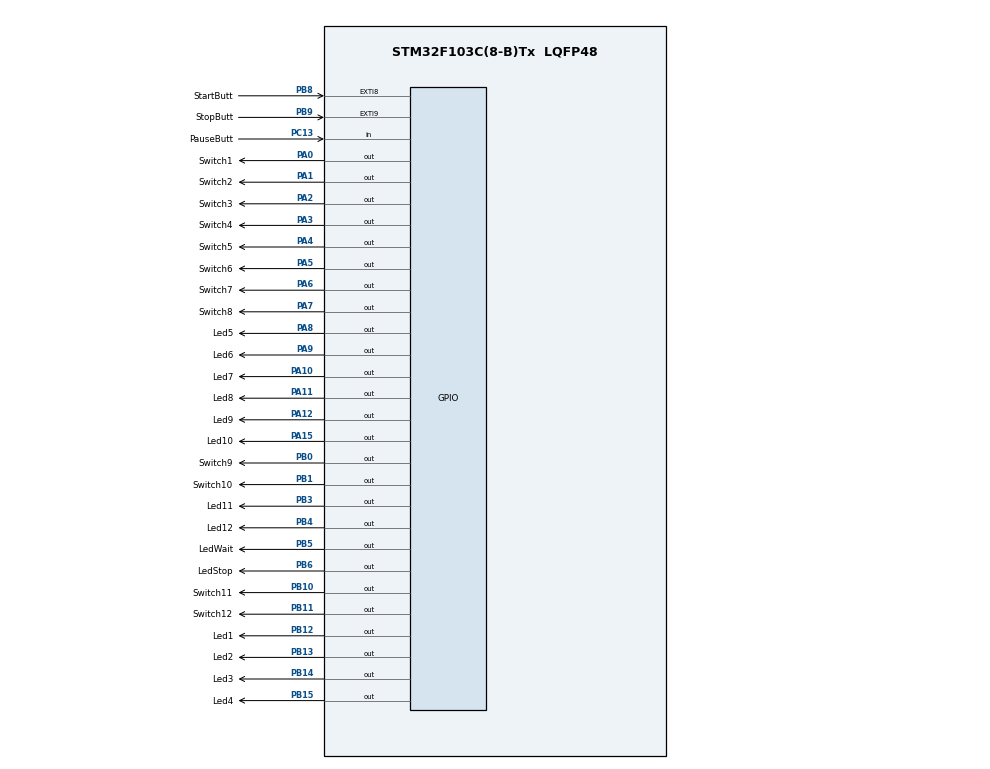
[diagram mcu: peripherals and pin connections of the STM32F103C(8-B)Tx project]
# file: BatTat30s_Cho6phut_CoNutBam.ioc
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Mcu.Family=STM32F1
Mcu.Name=STM32F103C(8-B)Tx
Mcu.Package=LQFP48
NVIC.EXTI9_5_IRQn=true\:0\:0\:false\:false\:true\:true\:true\:true
NVIC.PriorityGroup=NVIC_PRIORITYGROUP_4
NVIC.TIM2_IRQn=true\:0\:0\:true\:false\:true\:true\:true\:true
NVIC.TIM3_IRQn=true\:0\:0\:false\:false\:true\:true\:true\:true
PA0-WKUP.GPIO_Label=Switch1
PA0-WKUP.Signal=GPIO_Output
PA1.GPIO_Label=Switch2
PA1.Signal=GPIO_Output
PA10.GPIO_Label=Led7
PA10.Signal=GPIO_Output
PA11.GPIO_Label=Led8
PA11.Signal=GPIO_Output
PA12.GPIO_Label=Led9
PA12.Signal=GPIO_Output
PA13.Mode=Serial_Wire
PA13.Signal=SYS_JTMS-SWDIO
PA14.Mode=Serial_Wire
PA14.Signal=SYS_JTCK-SWCLK
PA15.GPIO_Label=Led10
PA15.Signal=GPIO_Output
PA2.GPIO_Label=Switch3
PA2.Signal=GPIO_Output
PA3.GPIO_Label=Switch4
PA3.Signal=GPIO_Output
PA4.GPIO_Label=Switch5
PA4.Signal=GPIO_Output
PA5.GPIO_Label=Switch6
PA5.Signal=GPIO_Output
PA6.GPIO_Label=Switch7
PA6.Signal=GPIO_Output
PA7.GPIO_Label=Switch8
PA7.Signal=GPIO_Output
PA8.GPIO_Label=Led5
PA8.Signal=GPIO_Output
PA9.GPIO_Label=Led6
PA9.Signal=GPIO_Output
PB0.GPIO_Label=Switch9
PB0.Signal=GPIO_Output
PB1.GPIO_Label=Switch10
PB1.Signal=GPIO_Output
PB10.GPIO_Label=Switch11
PB10.Signal=GPIO_Output
PB11.GPIO_Label=Switch12
PB11.Signal=GPIO_Output
PB12.GPIO_Label=Led1
PB12.Signal=GPIO_Output
PB13.GPIO_Label=Led2
PB13.Signal=GPIO_Output
PB14.GPIO_Label=Led3
PB14.Signal=GPIO_Output
PB15.GPIO_Label=Led4
PB15.Signal=GPIO_Output
PB3.GPIO_Label=Led11
PB3.Signal=GPIO_Output
PB4.GPIO_Label=Led12
PB4.Signal=GPIO_Output
PB5.GPIO_Label=LedWait
PB5.Signal=GPIO_Output
PB6.GPIO_Label=LedStop
PB6.Signal=GPIO_Output
PB8.GPIO_Label=StartButt
PB8.GPIO_ModeDefaultEXTI=GPIO_MODE_IT_FALLING
PB8.GPIO_PuPd=GPIO_PULLUP
PB8.Signal=GPXTI8
PB9.GPIO_Label=StopButt
PB9.GPIO_PuPd=GPIO_PULLUP
PB9.Signal=GPXTI9
PC13-TAMPER-RTC.GPIO_Label=PauseButt
PC13-TAMPER-RTC.GPIO_PuPd=GPIO_PULLUP
PC13-TAMPER-RTC.Signal=GPIO_Input
PD0-OSC_IN.Mode=HSE-External-Oscillator
PD0-OSC_IN.Signal=RCC_OSC_IN
PD1-OSC_OUT.Mode=HSE-External-Oscillator
PD1-OSC_OUT.Signal=RCC_OSC_OUT
ProjectManager.HeapSize=0x200
ProjectManager.StackSize=0x400
ProjectManager.TargetToolchain=STM32CubeIDE
RCC.APB1Freq_Value=8000000
RCC.APB2Freq_Value=8000000
TIM2.Period=7999
TIM2.Prescaler=999
TIM3.Period=62499
TIM3.Prescaler=63
VP_TIM2_VS_ClockSourceINT.Mode=Internal
VP_TIM3_VS_ClockSourceINT.Mode=Internal
board=custom

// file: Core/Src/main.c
/* USER CODE BEGIN Header */
/**
 ******************************************************************************
 * @file           : main.c
 * @brief          : Main program body
 ******************************************************************************
 * @attention
 *
 * Copyright (c) 2024 STMicroelectronics.
 * All rights reserved.
 *
 * This software is licensed under terms that can be found in the LICENSE file
 * in the root directory of this software component.
 * If no LICENSE file comes with this software, it is provided AS-IS.
 *
 ******************************************************************************
 */
/* USER CODE END Header */
#include "main.h"

TIM_HandleTypeDef htim2;
TIM_HandleTypeDef htim3;

/* USER CODE BEGIN PV */
uint16_t countSecond = 0, countSecond_limit = 30;
uint16_t countSecond_WaitLimit = 360;
//uint16_t countSecond = 0, countSecond_limit = 5;
//uint16_t countSecond_WaitLimit = 10;
uint8_t countMili = 0, countMili_limit = 2;
uint8_t flagSkip = 0, flagChange = 0, flagFirstStop = 0;
uint8_t flagTim3 = 0, flagTim2 = 1;
uint8_t relay1 = 0, relay2 = 0, relay3 = 0, relay4 = 0;
enum State {
	stop,
	switch1,
	switch2,
	switch3,
	switch4,
	switch5,
	switch6,
	switch7,
	switch8,
	switch9,
	switch10,
	switch11,
	switch12,
	wait
} state = stop;

/* USER CODE END PV */

void SystemClock_Config(void);
static void MX_GPIO_Init(void);
static void MX_TIM2_Init(void);
static void MX_TIM3_Init(void);

/* USER CODE BEGIN 0 */
void HAL_TIM_PeriodElapsedCallback(TIM_HandleTypeDef *htim) {
	if (htim == &htim2) {
		countSecond += 1;
//		if(countSecond %2 == 0)
//		HAL_GPIO_TogglePin(Switch6_GPIO_Port, Switch6_Pin);
	} else if (htim == &htim3) {
		countMili += 1;
//	HAL_GPIO_TogglePin(Switch4_GPIO_Port, Switch4_Pin);
	}
}
void RstAll() {
	countSecond = 0;
	countMili = 0;
	relay1 = 0;
	relay2 = 0;
	relay3 = 0;

	HAL_GPIO_WritePin(LedWait_GPIO_Port, LedWait_Pin, 0);
	HAL_GPIO_WritePin(Switch1_GPIO_Port, Switch1_Pin, 0);
	HAL_GPIO_WritePin(Switch2_GPIO_Port, Switch2_Pin, 0);
	HAL_GPIO_WritePin(Switch3_GPIO_Port, Switch3_Pin, 0);
	HAL_GPIO_WritePin(Switch4_GPIO_Port, Switch4_Pin, 0);
	HAL_GPIO_WritePin(Switch5_GPIO_Port, Switch5_Pin, 0);
	HAL_GPIO_WritePin(Switch6_GPIO_Port, Switch6_Pin, 0);
	HAL_GPIO_WritePin(Switch7_GPIO_Port, Switch7_Pin, 0);
	HAL_GPIO_WritePin(Switch8_GPIO_Port, Switch8_Pin, 0);
	HAL_GPIO_WritePin(Led1_GPIO_Port, Led1_Pin, 0);
	HAL_GPIO_WritePin(Led2_GPIO_Port, Led2_Pin, 0);
	HAL_GPIO_WritePin(Led3_GPIO_Port, Led3_Pin, 0);
	HAL_GPIO_WritePin(Led4_GPIO_Port, Led4_Pin, 0);
	HAL_GPIO_WritePin(Led5_GPIO_Port, Led5_Pin, 0);
	HAL_GPIO_WritePin(Led6_GPIO_Port, Led6_Pin, 0);
	HAL_GPIO_WritePin(Led7_GPIO_Port, Led7_Pin, 0);
	HAL_GPIO_WritePin(Led8_GPIO_Port, Led8_Pin, 0);
	HAL_GPIO_WritePin(Led9_GPIO_Port, Led9_Pin, 0);
	HAL_GPIO_WritePin(Led10_GPIO_Port, Led10_Pin, 0);
	HAL_GPIO_WritePin(Led11_GPIO_Port, Led11_Pin, 0);
	HAL_GPIO_WritePin(Led12_GPIO_Port, Led12_Pin, 0);

}
void HAL_GPIO_EXTI_Callback(uint16_t GPIO_Pin) {
	if (GPIO_Pin == StartButt_Pin) {
		flagChange = 1;
		state = switch1;
		__HAL_GPIO_EXTI_CLEAR_IT(StartButt_Pin);
		EXTI->PR = StartButt_Pin;
//		HAL_Delay(100);
	}

	else if (GPIO_Pin == StopButt_Pin) {
		flagChange = 1;
		state = stop;
//		HAL_Delay(10);
		__HAL_GPIO_EXTI_CLEAR_IT(StopButt_Pin);
		EXTI->PR = StopButt_Pin;
	}
//	HAL_Delay(10);
//	if (GPIO_Pin == SkipButt_Pin) {
//		flagSkip = 1;
//	}
}

/* USER CODE END 0 */

int main(void)
{

  /* MCU Configuration--------------------------------------------------------*/

  /* Reset of all peripherals, Initializes the Flash interface and the Systick. */
  HAL_Init();

  /* Configure the system clock */
  SystemClock_Config();

  /* Initialize all configured peripherals */
  MX_GPIO_Init();
  MX_TIM2_Init();
  MX_TIM3_Init();
  /* USER CODE BEGIN 2 */
	RstAll();
	HAL_GPIO_WritePin(LedWait_GPIO_Port, LedWait_Pin, 0);

//					__HAL_TIM_CLEAR_IT(&htim2, TIM_IT_UPDATE);
//					HAL_TIM_Base_Start_IT(&htim2);
//									__HAL_TIM_CLEAR_IT(&htim3, TIM_IT_UPDATE);
//									HAL_TIM_Base_Start_IT(&htim3);

//					HAL_GPIO_WritePin(Switch4_GPIO_Port, Switch4_Pin, 1);
  /* USER CODE END 2 */

  /* Infinite loop */
	while (1) {

    /* USER CODE BEGIN 3 */

//			HAL_GPIO_WritePin(Switch1_GPIO_Port, Switch1_Pin, 1);
//					if(countSecond  >= 5){
////						HAL_GPIO_WritePin(Switch4_GPIO_Port, Switch4_Pin, 0);
////					HAL_GPIO_TogglePin(Switch6_GPIO_Port, Switch6_Pin);
//					countSecond = 0;
//					}
		if (HAL_GPIO_ReadPin(PauseButt_GPIO_Port, PauseButt_Pin) == 0) {
			if (flagFirstStop == 0) {
				flagFirstStop = 1;
				HAL_TIM_Base_Stop_IT(&htim3);
				HAL_TIM_Base_Stop_IT(&htim2);
//				HAL_GPIO_TogglePin(LedWait_GPIO_Port, LedWait_Pin);
			}
		} else {
			if (flagFirstStop == 1) {
//				HAL_GPIO_TogglePin(LedWait_GPIO_Port, LedWait_Pin);
				flagFirstStop = 0;
				if (flagTim3)
					HAL_TIM_Base_Start_IT(&htim3);
				if (flagTim2)
					HAL_TIM_Base_Start_IT(&htim2);
			}
			switch (state) {
			case stop:
				if (flagChange) {
					HAL_TIM_Base_Stop_IT(&htim3);
					flagTim3 = 0;
					HAL_TIM_Base_Stop_IT(&htim2);
					flagTim2 = 0;
					RstAll();
					flagChange = 0;
				}
				break;
			case switch1:
				if (flagChange) {
					countMili = 0;
					RstAll();
					HAL_GPIO_WritePin(Led1_GPIO_Port, Led1_Pin, 1);
					HAL_GPIO_WritePin(Switch1_GPIO_Port, Switch1_Pin, 1);
					relay1 = 1;
					__HAL_TIM_CLEAR_IT(&htim3, TIM_IT_UPDATE);
					HAL_TIM_Base_Start_IT(&htim3);
					flagTim3 = 1;
					flagChange = 0;
				} else {
					if (countMili >= countMili_limit) {
						relay1 = 0;
						HAL_GPIO_WritePin(Switch1_GPIO_Port, Switch1_Pin, 0);
						HAL_TIM_Base_Stop_IT(&htim3);
						flagTim3 = 0;
						__HAL_TIM_CLEAR_IT(&htim2, TIM_IT_UPDATE);
						HAL_TIM_Base_Start_IT(&htim2);
						flagTim2 = 1;
						countMili = 0;
					}
					if (countSecond >= countSecond_limit) {
						state = switch2;
						flagChange = 1;
						countSecond = 0;
						HAL_TIM_Base_Stop_IT(&htim2);
						flagTim2 = 0;

					}
				}
				break;

			case switch2:
				if (flagChange) {
					countMili = 0;
					HAL_GPIO_WritePin(Led2_GPIO_Port, Led2_Pin, 1);
					HAL_GPIO_WritePin(Switch2_GPIO_Port, Switch2_Pin, 1);
					relay2 = 1;
					__HAL_TIM_CLEAR_IT(&htim3, TIM_IT_UPDATE);
					HAL_TIM_Base_Start_IT(&htim3);
					flagTim3 = 1;
					flagChange = 0;
				} else {
					if (countMili >= countMili_limit) {
						HAL_GPIO_WritePin(Switch2_GPIO_Port, Switch2_Pin, 0);
						relay2 = 0;
						HAL_TIM_Base_Stop_IT(&htim3);
						flagTim3 = 0;
						__HAL_TIM_CLEAR_IT(&htim2, TIM_IT_UPDATE);
						HAL_TIM_Base_Start_IT(&htim2);
						flagTim2 = 1;
						countMili = 0;
					}
					if (countSecond >= countSecond_limit) {
						state = switch3;
						flagChange = 1;
						countSecond = 0;
						HAL_TIM_Base_Stop_IT(&htim2);
						flagTim2 = 0;

					}
				}
				break;

			case switch3:
				if (flagChange) {
					countMili = 0;
					HAL_GPIO_WritePin(Led3_GPIO_Port, Led3_Pin, 1);
					HAL_GPIO_WritePin(Switch3_GPIO_Port, Switch3_Pin, 1);
					relay3 = 1;
					__HAL_TIM_CLEAR_IT(&htim3, TIM_IT_UPDATE);
					HAL_TIM_Base_Start_IT(&htim3);
					flagTim3 = 1;
					flagChange = 0;
				} else {
					if (countMili >= countMili_limit) {
						HAL_GPIO_WritePin(Switch3_GPIO_Port, Switch3_Pin, 0);
						relay3 = 0;
						HAL_TIM_Base_Stop_IT(&htim3);
						flagTim3 = 0;
						__HAL_TIM_CLEAR_IT(&htim2, TIM_IT_UPDATE);
						HAL_TIM_Base_Start_IT(&htim2);
						flagTim2 = 1;
						countMili = 0;
					}
					if (countSecond >= countSecond_limit) {
						state = switch4;
						flagChange = 1;
						countSecond = 0;
						HAL_TIM_Base_Stop_IT(&htim2);
						flagTim2 = 0;

					}
				}
				break;

			case switch4:
				if (flagChange) {
					countMili = 0;
					HAL_GPIO_WritePin(Led4_GPIO_Port, Led4_Pin, 1);
					HAL_GPIO_WritePin(Switch4_GPIO_Port, Switch4_Pin, 1);
					__HAL_TIM_CLEAR_IT(&htim3, TIM_IT_UPDATE);
					HAL_TIM_Base_Start_IT(&htim3);
					flagTim3 = 1;
					flagChange = 0;
				} else {
					if (countMili >= countMili_limit) {
						HAL_GPIO_WritePin(Switch4_GPIO_Port, Switch4_Pin, 0);
						HAL_TIM_Base_Stop_IT(&htim3);
						flagTim3 = 0;
						__HAL_TIM_CLEAR_IT(&htim2, TIM_IT_UPDATE);
						HAL_TIM_Base_Start_IT(&htim2);
						flagTim2 = 1;
						countMili = 0;
					}
					if (countSecond >= countSecond_limit) {
						state = switch5;
						flagChange = 1;
						countSecond = 0;
						HAL_TIM_Base_Stop_IT(&htim2);
						flagTim2 = 0;

					}
				}
				break;

			case switch5:
				if (flagChange) {
					countMili = 0;
					HAL_GPIO_WritePin(Led5_GPIO_Port, Led5_Pin, 1);
					HAL_GPIO_WritePin(Switch5_GPIO_Port, Switch5_Pin, 1);
					__HAL_TIM_CLEAR_IT(&htim3, TIM_IT_UPDATE);
					HAL_TIM_Base_Start_IT(&htim3);
					flagTim3 = 1;
					flagChange = 0;
				} else {
					if (countMili >= countMili_limit) {
						HAL_GPIO_WritePin(Switch5_GPIO_Port, Switch5_Pin, 0);
						HAL_TIM_Base_Stop_IT(&htim3);
						flagTim3 = 0;
						__HAL_TIM_CLEAR_IT(&htim2, TIM_IT_UPDATE);
						HAL_TIM_Base_Start_IT(&htim2);
						flagTim2 = 1;
						countMili = 0;
					}
					if (countSecond >= countSecond_limit) {
						state = switch6;
						flagChange = 1;
						countSecond = 0;
						HAL_TIM_Base_Stop_IT(&htim2);
						flagTim2 = 0;

					}
				}
				break;

			case switch6:
				if (flagChange) {
					countMili = 0;
					HAL_GPIO_WritePin(Led6_GPIO_Port, Led6_Pin, 1);
					HAL_GPIO_WritePin(Switch6_GPIO_Port, Switch6_Pin, 1);
					__HAL_TIM_CLEAR_IT(&htim3, TIM_IT_UPDATE);
					HAL_TIM_Base_Start_IT(&htim3);
					flagTim3 = 1;
					flagChange = 0;
				} else {
					if (countMili >= countMili_limit) {
						HAL_GPIO_WritePin(Switch6_GPIO_Port, Switch6_Pin, 0);
						HAL_TIM_Base_Stop_IT(&htim3);
						flagTim3 = 0;
						__HAL_TIM_CLEAR_IT(&htim2, TIM_IT_UPDATE);
						HAL_TIM_Base_Start_IT(&htim2);
						flagTim2 = 1;
						countMili = 0;
					}
					if (countSecond >= countSecond_limit) {
						state = switch7;
						flagChange = 1;
						countSecond = 0;
						HAL_TIM_Base_Stop_IT(&htim2);
						flagTim2 = 0;

					}
				}
				break;

			case switch7:
				if (flagChange) {
					countMili = 0;
					HAL_GPIO_WritePin(Led7_GPIO_Port, Led7_Pin, 1);
					HAL_GPIO_WritePin(Switch7_GPIO_Port, Switch7_Pin, 1);
					__HAL_TIM_CLEAR_IT(&htim3, TIM_IT_UPDATE);
					HAL_TIM_Base_Start_IT(&htim3);
					flagTim3 = 1;
					flagChange = 0;
				} else {
					if (countMili >= countMili_limit) {
						HAL_GPIO_WritePin(Switch7_GPIO_Port, Switch7_Pin, 0);
						HAL_TIM_Base_Stop_IT(&htim3);
						flagTim3 = 0;
						__HAL_TIM_CLEAR_IT(&htim2, TIM_IT_UPDATE);
						HAL_TIM_Base_Start_IT(&htim2);
						flagTim2 = 1;
						countMili = 0;
					}
					if (countSecond >= countSecond_limit) {
						state = switch8;
						flagChange = 1;
						countSecond = 0;
						HAL_TIM_Base_Stop_IT(&htim2);
						flagTim2 = 0;

					}
				}
				break;

			case switch8:
				if (flagChange) {
					countMili = 0;
					HAL_GPIO_WritePin(Led8_GPIO_Port, Led8_Pin, 1);
					HAL_GPIO_WritePin(Switch8_GPIO_Port, Switch8_Pin, 1);
					__HAL_TIM_CLEAR_IT(&htim3, TIM_IT_UPDATE);
					HAL_TIM_Base_Start_IT(&htim3);
					flagTim3 = 1;
					flagChange = 0;
				} else {
					if (countMili >= countMili_limit) {
						HAL_GPIO_WritePin(Switch8_GPIO_Port, Switch8_Pin, 0);
						HAL_TIM_Base_Stop_IT(&htim3);
						flagTim3 = 0;
						__HAL_TIM_CLEAR_IT(&htim2, TIM_IT_UPDATE);
						HAL_TIM_Base_Start_IT(&htim2);
						flagTim2 = 1;
						countMili = 0;
					}
					if (countSecond >= countSecond_limit) {
						state = switch9;
						flagChange = 1;
						countSecond = 0;
						HAL_TIM_Base_Stop_IT(&htim2);
						flagTim2 = 0;

					}
				}
				break;

			case switch9:
				if (flagChange) {
					countMili = 0;
					HAL_GPIO_WritePin(Led9_GPIO_Port, Led9_Pin, 1);
					HAL_GPIO_WritePin(Switch9_GPIO_Port, Switch9_Pin, 1);
					__HAL_TIM_CLEAR_IT(&htim3, TIM_IT_UPDATE);
					HAL_TIM_Base_Start_IT(&htim3);
					flagTim3 = 1;
					flagChange = 0;
				} else {
					if (countMili >= countMili_limit) {
						HAL_GPIO_WritePin(Switch9_GPIO_Port, Switch9_Pin, 0);
						HAL_TIM_Base_Stop_IT(&htim3);
						flagTim3 = 0;
						__HAL_TIM_CLEAR_IT(&htim2, TIM_IT_UPDATE);
						HAL_TIM_Base_Start_IT(&htim2);
						flagTim2 = 1;
						countMili = 0;
					}
					if (countSecond >= countSecond_limit) {
						state = switch10;
						flagChange = 1;
						countSecond = 0;
						HAL_TIM_Base_Stop_IT(&htim2);
						flagTim2 = 0;

					}
				}
				break;

			case switch10:
				if (flagChange) {
					countMili = 0;
					HAL_GPIO_WritePin(Led10_GPIO_Port, Led10_Pin, 1);
					HAL_GPIO_WritePin(Switch10_GPIO_Port, Switch10_Pin, 1);
					__HAL_TIM_CLEAR_IT(&htim3, TIM_IT_UPDATE);
					HAL_TIM_Base_Start_IT(&htim3);
					flagTim3 = 1;
					flagChange = 0;
				} else {
					if (countMili >= countMili_limit) {
						HAL_GPIO_WritePin(Switch10_GPIO_Port, Switch10_Pin, 0);
						HAL_TIM_Base_Stop_IT(&htim3);
						flagTim3 = 0;
						__HAL_TIM_CLEAR_IT(&htim2, TIM_IT_UPDATE);
						HAL_TIM_Base_Start_IT(&htim2);
						flagTim2 = 1;
						countMili = 0;
					}
					if (countSecond >= countSecond_limit) {
						state = switch11;
						flagChange = 1;
						countSecond = 0;
						HAL_TIM_Base_Stop_IT(&htim2);
						flagTim2 = 0;

					}
				}
				break;
			case switch11:
				if (flagChange) {
					countMili = 0;
					HAL_GPIO_WritePin(Led11_GPIO_Port, Led11_Pin, 1);
					HAL_GPIO_WritePin(Switch11_GPIO_Port, Switch11_Pin, 1);
					__HAL_TIM_CLEAR_IT(&htim3, TIM_IT_UPDATE);
					HAL_TIM_Base_Start_IT(&htim3);
					flagChange = 0;
				} else {
					if (countMili >= countMili_limit) {
						HAL_GPIO_WritePin(Switch11_GPIO_Port, Switch11_Pin, 0);
						HAL_TIM_Base_Stop_IT(&htim3);
						flagTim3 = 0;
						__HAL_TIM_CLEAR_IT(&htim2, TIM_IT_UPDATE);
						HAL_TIM_Base_Start_IT(&htim2);
						flagTim2 = 1;
						countMili = 0;
					}
					if (countSecond >= countSecond_limit) {
						state = switch12;
						flagChange = 1;
						countSecond = 0;
						HAL_TIM_Base_Stop_IT(&htim2);
						flagTim2 = 0;

					}
				}
				break;
			case switch12:
				if (flagChange) {
					countMili = 0;
					HAL_GPIO_WritePin(Led12_GPIO_Port, Led12_Pin, 1);
					HAL_GPIO_WritePin(Switch12_GPIO_Port, Switch12_Pin, 1);
					__HAL_TIM_CLEAR_IT(&htim3, TIM_IT_UPDATE);
					HAL_TIM_Base_Start_IT(&htim3);
					flagTim3 = 1;
					flagChange = 0;
				} else {
					if (countMili >= countMili_limit) {
						HAL_GPIO_WritePin(Switch12_GPIO_Port, Switch12_Pin, 0);
						HAL_TIM_Base_Stop_IT(&htim3);
						flagTim3 = 0;
						__HAL_TIM_CLEAR_IT(&htim2, TIM_IT_UPDATE);
						HAL_TIM_Base_Start_IT(&htim2);
						flagTim2 = 1;
						countMili = 0;
					}
					if (countSecond >= countSecond_limit) {
						state = wait;
						flagChange = 1;
						countSecond = 0;
						HAL_TIM_Base_Stop_IT(&htim2);
						flagTim2 = 0;

					}
				}
				break;
			case wait:
				if (flagChange) {
					countSecond = 0;
					HAL_GPIO_WritePin(LedWait_GPIO_Port, LedWait_Pin, 1);
					__HAL_TIM_CLEAR_IT(&htim2, TIM_IT_UPDATE);
					HAL_TIM_Base_Start_IT(&htim2);
					flagTim2 = 1;
					flagChange = 0;
				} else {
					if (countSecond >= countSecond_WaitLimit) {
						state = switch1;
						flagChange = 1;
						countSecond = 0;
						HAL_TIM_Base_Stop_IT(&htim2);
						flagTim2 = 0;

					}
				}
				break;

			}
		}
	}
  /* USER CODE END 3 */
}

void SystemClock_Config(void)
{
  RCC_OscInitTypeDef RCC_OscInitStruct = {0};
  RCC_ClkInitTypeDef RCC_ClkInitStruct = {0};

  /** Initializes the RCC Oscillators according to the specified parameters
  * in the RCC_OscInitTypeDef structure.
  */
  RCC_OscInitStruct.OscillatorType = RCC_OSCILLATORTYPE_HSI;
  RCC_OscInitStruct.HSIState = RCC_HSI_ON;
  RCC_OscInitStruct.HSICalibrationValue = RCC_HSICALIBRATION_DEFAULT;
  RCC_OscInitStruct.PLL.PLLState = RCC_PLL_NONE;
  if (HAL_RCC_OscConfig(&RCC_OscInitStruct) != HAL_OK)
  {
    Error_Handler();
  }

  /** Initializes the CPU, AHB and APB buses clocks
  */
  RCC_ClkInitStruct.ClockType = RCC_CLOCKTYPE_HCLK|RCC_CLOCKTYPE_SYSCLK
                              |RCC_CLOCKTYPE_PCLK1|RCC_CLOCKTYPE_PCLK2;
  RCC_ClkInitStruct.SYSCLKSource = RCC_SYSCLKSOURCE_HSI;
  RCC_ClkInitStruct.AHBCLKDivider = RCC_SYSCLK_DIV1;
  RCC_ClkInitStruct.APB1CLKDivider = RCC_HCLK_DIV1;
  RCC_ClkInitStruct.APB2CLKDivider = RCC_HCLK_DIV1;

  if (HAL_RCC_ClockConfig(&RCC_ClkInitStruct, FLASH_LATENCY_0) != HAL_OK)
  {
    Error_Handler();
  }
}

static void MX_TIM2_Init(void)
{

  TIM_ClockConfigTypeDef sClockSourceConfig = {0};
  TIM_MasterConfigTypeDef sMasterConfig = {0};

  htim2.Instance = TIM2;
  htim2.Init.Prescaler = 999;
  htim2.Init.CounterMode = TIM_COUNTERMODE_UP;
  htim2.Init.Period = 7999;
  htim2.Init.ClockDivision = TIM_CLOCKDIVISION_DIV1;
  htim2.Init.AutoReloadPreload = TIM_AUTORELOAD_PRELOAD_DISABLE;
  if (HAL_TIM_Base_Init(&htim2) != HAL_OK)
  {
    Error_Handler();
  }
  sClockSourceConfig.ClockSource = TIM_CLOCKSOURCE_INTERNAL;
  if (HAL_TIM_ConfigClockSource(&htim2, &sClockSourceConfig) != HAL_OK)
  {
    Error_Handler();
  }
  sMasterConfig.MasterOutputTrigger = TIM_TRGO_RESET;
  sMasterConfig.MasterSlaveMode = TIM_MASTERSLAVEMODE_DISABLE;
  if (HAL_TIMEx_MasterConfigSynchronization(&htim2, &sMasterConfig) != HAL_OK)
  {
    Error_Handler();
  }

}

static void MX_TIM3_Init(void)
{

  TIM_ClockConfigTypeDef sClockSourceConfig = {0};
  TIM_MasterConfigTypeDef sMasterConfig = {0};

  htim3.Instance = TIM3;
  htim3.Init.Prescaler = 63;
  htim3.Init.CounterMode = TIM_COUNTERMODE_UP;
  htim3.Init.Period = 62499;
  htim3.Init.ClockDivision = TIM_CLOCKDIVISION_DIV1;
  htim3.Init.AutoReloadPreload = TIM_AUTORELOAD_PRELOAD_DISABLE;
  if (HAL_TIM_Base_Init(&htim3) != HAL_OK)
  {
    Error_Handler();
  }
  sClockSourceConfig.ClockSource = TIM_CLOCKSOURCE_INTERNAL;
  if (HAL_TIM_ConfigClockSource(&htim3, &sClockSourceConfig) != HAL_OK)
  {
    Error_Handler();
  }
  sMasterConfig.MasterOutputTrigger = TIM_TRGO_RESET;
  sMasterConfig.MasterSlaveMode = TIM_MASTERSLAVEMODE_DISABLE;
  if (HAL_TIMEx_MasterConfigSynchronization(&htim3, &sMasterConfig) != HAL_OK)
  {
    Error_Handler();
  }

}

static void MX_GPIO_Init(void)
{
  GPIO_InitTypeDef GPIO_InitStruct = {0};

  /* GPIO Ports Clock Enable */
  __HAL_RCC_GPIOC_CLK_ENABLE();
  __HAL_RCC_GPIOD_CLK_ENABLE();
  __HAL_RCC_GPIOA_CLK_ENABLE();
  __HAL_RCC_GPIOB_CLK_ENABLE();

  /*Configure GPIO pin Output Level */
  HAL_GPIO_WritePin(GPIOA, Switch1_Pin|Switch2_Pin|Switch3_Pin|Switch4_Pin
                          |Switch5_Pin|Switch6_Pin|Switch7_Pin|Switch8_Pin
                          |Led5_Pin|Led6_Pin|Led7_Pin|Led8_Pin
                          |Led9_Pin|Led10_Pin, GPIO_PIN_RESET);

  /*Configure GPIO pin Output Level */
  HAL_GPIO_WritePin(GPIOB, Switch9_Pin|Switch10_Pin|Switch11_Pin|Switch12_Pin
                          |Led1_Pin|Led2_Pin|Led3_Pin|Led4_Pin
                          |Led11_Pin|Led12_Pin|LedWait_Pin|LedStop_Pin, GPIO_PIN_RESET);

  /*Configure GPIO pin : PauseButt_Pin */
  GPIO_InitStruct.Pin = PauseButt_Pin;
  GPIO_InitStruct.Mode = GPIO_MODE_INPUT;
  GPIO_InitStruct.Pull = GPIO_PULLUP;
  HAL_GPIO_Init(PauseButt_GPIO_Port, &GPIO_InitStruct);

  /*Configure GPIO pins : Switch1_Pin Switch2_Pin Switch3_Pin Switch4_Pin
                           Switch5_Pin Switch6_Pin Switch7_Pin Switch8_Pin
                           Led5_Pin Led6_Pin Led7_Pin Led8_Pin
                           Led9_Pin Led10_Pin */
  GPIO_InitStruct.Pin = Switch1_Pin|Switch2_Pin|Switch3_Pin|Switch4_Pin
                          |Switch5_Pin|Switch6_Pin|Switch7_Pin|Switch8_Pin
                          |Led5_Pin|Led6_Pin|Led7_Pin|Led8_Pin
                          |Led9_Pin|Led10_Pin;
  GPIO_InitStruct.Mode = GPIO_MODE_OUTPUT_PP;
  GPIO_InitStruct.Pull = GPIO_NOPULL;
  GPIO_InitStruct.Speed = GPIO_SPEED_FREQ_LOW;
  HAL_GPIO_Init(GPIOA, &GPIO_InitStruct);

  /*Configure GPIO pins : Switch9_Pin Switch10_Pin Switch11_Pin Switch12_Pin
                           Led1_Pin Led2_Pin Led3_Pin Led4_Pin
                           Led11_Pin Led12_Pin LedWait_Pin LedStop_Pin */
  GPIO_InitStruct.Pin = Switch9_Pin|Switch10_Pin|Switch11_Pin|Switch12_Pin
                          |Led1_Pin|Led2_Pin|Led3_Pin|Led4_Pin
                          |Led11_Pin|Led12_Pin|LedWait_Pin|LedStop_Pin;
  GPIO_InitStruct.Mode = GPIO_MODE_OUTPUT_PP;
  GPIO_InitStruct.Pull = GPIO_NOPULL;
  GPIO_InitStruct.Speed = GPIO_SPEED_FREQ_LOW;
  HAL_GPIO_Init(GPIOB, &GPIO_InitStruct);

  /*Configure GPIO pin : StartButt_Pin */
  GPIO_InitStruct.Pin = StartButt_Pin;
  GPIO_InitStruct.Mode = GPIO_MODE_IT_FALLING;
  GPIO_InitStruct.Pull = GPIO_PULLUP;
  HAL_GPIO_Init(StartButt_GPIO_Port, &GPIO_InitStruct);

  /*Configure GPIO pin : StopButt_Pin */
  GPIO_InitStruct.Pin = StopButt_Pin;
  GPIO_InitStruct.Mode = GPIO_MODE_IT_RISING;
  GPIO_InitStruct.Pull = GPIO_PULLUP;
  HAL_GPIO_Init(StopButt_GPIO_Port, &GPIO_InitStruct);

  /* EXTI interrupt init*/
  HAL_NVIC_SetPriority(EXTI9_5_IRQn, 0, 0);
  HAL_NVIC_EnableIRQ(EXTI9_5_IRQn);

}

void Error_Handler(void)
{
	__disable_irq();
	while (1) {
	}
}
